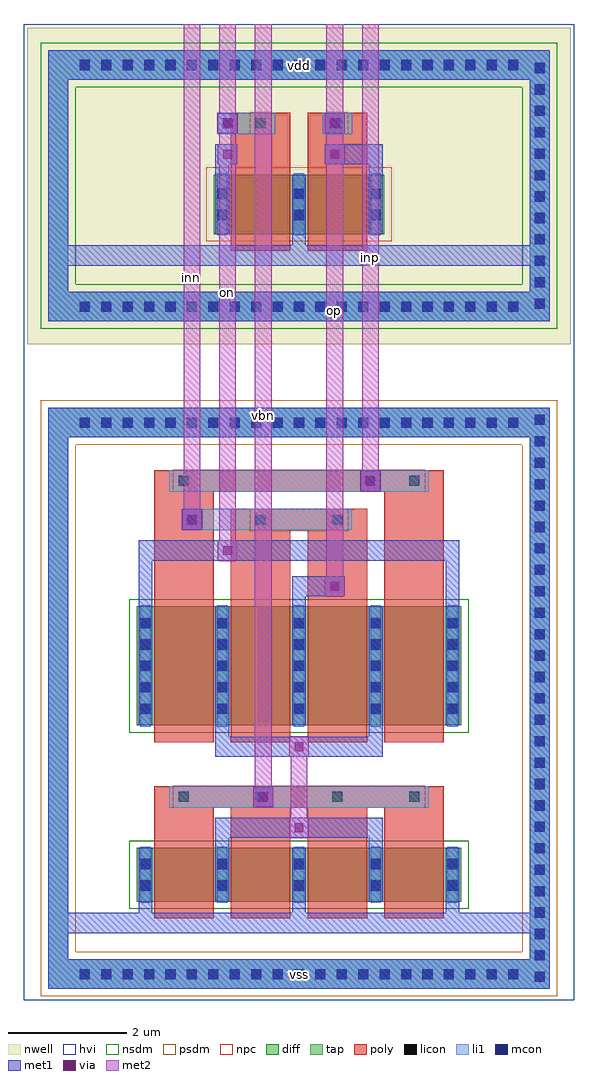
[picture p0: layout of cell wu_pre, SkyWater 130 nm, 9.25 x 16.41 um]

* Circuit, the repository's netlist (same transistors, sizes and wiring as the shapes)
.subckt wu_pre inp inn op on vbn vdd vss
MMt tl vbn vss vss nfet_g5v0d10v5 w=3.6u l=1u
MM1 on inp tl vss nfet_g5v0d10v5 w=4u l=1u
MM2 op inn tl vss nfet_g5v0d10v5 w=4u l=1u
ML1 on on vdd vdd pfet_g5v0d10v5 w=1u l=1u
ML2 op op vdd vdd pfet_g5v0d10v5 w=1u l=1u
.ends wu_pre

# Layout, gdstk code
import gdstk
lib = gdstk.Library(unit=1e-6, precision=1e-09)
def R(c, l, rs):  # rectangles x0, y0, x1, y1
    for r in rs: c.add(gdstk.rectangle(r[:2], r[2:], *l))
def A(c, l, x, y, w, h, nx, ny, dx, dy):  # array of equal rectangles
    R(c, l, [(x+i*dx, y+j*dy, x+i*dx+w, y+j*dy+h) for i in range(nx) for j in range(ny)])
nwell = (64, 20)
diff = (65, 20)
tap = (65, 44)
poly = (66, 20)
licon = (66, 44)
li1 = (67, 20)
mcon = (67, 44)
met1 = (68, 20)
via = (68, 44)
met2 = (69, 20)
hvi = (75, 20)
nsdm = (93, 44)
psdm = (94, 20)
npc = (95, 20)

wu_pre = lib.new_cell('wu_pre')
R(wu_pre, nwell, [(-4.565,11.09,4.565,16.41)])
R(wu_pre, diff, [(-2.725,1.72,2.725,2.62), (-2.725,4.68,2.725,6.68), (-1.435,12.94,1.435,13.94)])
R(wu_pre, tap, [(-4.215,0.25,4.215,0.75), (-4.215,0.25,-3.875,10.02), (3.875,0.25,4.215,10.02), (-4.215,9.52,4.215,10.02), (-4.215,11.47,4.215,11.97), (-4.215,11.47,-3.875,16.03), (3.875,11.47,4.215,16.03), (-4.215,15.53,4.215,16.03)])
A(wu_pre, poly, -2.435, 1.435, 1, 1.47, 4, 1, 1.29, 0)
A(wu_pre, poly, -2.435, 2.62, 1, 0.86, 4, 1, 1.29, 0)
A(wu_pre, poly, -2.435, 4.395, 1, 2.57, 4, 1, 1.29, 0)
R(wu_pre, poly, [(-2.435,3.3,2.435,3.66), (-2.435,6.68,-1.435,8.79), (-1.145,6.68,-0.145,8.14), (0.145,6.68,1.145,8.14), (1.435,6.68,2.435,8.79), (-1.145,7.96,1.145,8.32), (-2.435,8.61,2.435,8.97), (-1.145,12.655,-0.145,14.225), (0.145,12.655,1.145,14.225), (-1.145,13.94,-0.145,14.8), (0.145,13.94,1.145,14.8), (-1.145,14.62,-0.145,14.98), (0.145,14.62,1.145,14.98)])
A(wu_pre, licon, 3.96, 0.37, 0.17, 0.17, 1, 27, 0, 0.36)
A(wu_pre, licon, -3.685, 0.415, 0.17, 0.17, 21, 2, 0.36, 9.27)
A(wu_pre, licon, -2.665, 1.905, 0.17, 0.17, 5, 2, 1.29, 0.36)
A(wu_pre, licon, -2.02, 3.395, 0.17, 0.17, 4, 1, 1.29, 0)
A(wu_pre, licon, -2.665, 4.875, 0.17, 0.17, 5, 5, 1.29, 0.36)
A(wu_pre, licon, -3.685, 11.635, 0.17, 0.17, 21, 2, 0.36, 4.06)
A(wu_pre, licon, 3.96, 11.685, 0.17, 0.17, 1, 12, 0, 0.36)
A(wu_pre, licon, -1.375, 13.175, 0.17, 0.17, 3, 2, 1.29, 0.36)
R(wu_pre, licon, [(-0.73,8.055,-0.56,8.225), (0.56,8.055,0.73,8.225), (-2.02,8.705,-1.85,8.875), (1.85,8.705,2.02,8.875), (-0.73,14.715,-0.56,14.885), (0.56,14.715,0.73,14.885)])
A(wu_pre, li1, -2.665, 1.7, 0.17, 0.94, 5, 1, 1.29, 0)
A(wu_pre, li1, -2.665, 4.66, 0.17, 2.04, 5, 1, 1.29, 0)
A(wu_pre, li1, -1.375, 12.92, 0.17, 1.04, 3, 1, 1.29, 0)
R(wu_pre, li1, [(-4.215,0.25,4.215,0.75), (-4.215,0.25,-3.875,10.02), (3.875,0.25,4.215,10.02), (-2.185,3.3,2.185,3.66), (-1.97,7.96,0.895,8.32), (-2.185,8.61,2.185,8.97), (-4.215,9.52,4.215,10.02), (-4.215,11.47,4.215,11.97), (-4.215,11.47,-3.875,16.03), (3.875,11.47,4.215,16.03), (-1.37,14.62,-0.395,14.98), (0.395,14.62,0.895,14.98), (-4.215,15.53,4.215,16.03)])
A(wu_pre, mcon, 3.96, 0.37, 0.17, 0.17, 1, 27, 0, 0.36)
A(wu_pre, mcon, -3.685, 0.415, 0.17, 0.17, 21, 2, 0.36, 9.27)
A(wu_pre, mcon, -2.665, 1.905, 0.17, 0.17, 5, 2, 1.29, 0.36)
A(wu_pre, mcon, -2.665, 4.875, 0.17, 0.17, 5, 5, 1.29, 0.36)
A(wu_pre, mcon, -3.685, 11.635, 0.17, 0.17, 21, 2, 0.36, 4.06)
A(wu_pre, mcon, 3.96, 11.685, 0.17, 0.17, 1, 12, 0, 0.36)
A(wu_pre, mcon, -1.375, 13.175, 0.17, 0.17, 3, 2, 1.29, 0.36)
R(wu_pre, mcon, [(-0.685,3.395,-0.515,3.565), (-1.885,8.055,-1.715,8.225), (1.115,8.705,1.285,8.875), (-1.285,14.715,-1.115,14.885), (0.515,14.715,0.685,14.885)])
A(wu_pre, met1, -2.695, 1.19, 0.23, 0.53, 3, 1, 2.58, 0)
A(wu_pre, met1, -2.695, 1.72, 0.23, 0.9, 5, 1, 1.29, 0)
A(wu_pre, met1, -2.695, 4.68, 0.23, 2, 5, 1, 1.29, 0)
A(wu_pre, met1, -1.405, 12.94, 0.23, 1, 3, 1, 1.29, 0)
R(wu_pre, met1, [(-4.215,0.25,4.215,0.75), (-4.215,0.25,-3.875,10.02), (3.875,0.25,4.215,10.02), (-4.045,1.19,4.045,1.53), (-1.405,2.62,-1.175,3.13), (1.175,2.62,1.405,3.13), (-1.405,2.79,1.405,3.13), (-0.165,2.795,0.165,3.125), (-0.77,3.31,-0.43,3.65), (-1.405,4.15,-1.175,4.68), (-1.405,4.15,1.405,4.49), (1.175,4.15,1.405,4.68), (-0.165,4.155,0.165,4.485), (-2.695,6.68,-2.465,7.79), (-0.115,6.68,0.115,7.19), (2.465,6.68,2.695,7.79), (-0.115,6.85,0.765,7.19), (0.435,6.855,0.765,7.185), (-2.695,7.45,2.695,7.79), (-1.365,7.455,-1.035,7.785), (-1.97,7.97,-1.63,8.31), (1.03,8.62,1.37,8.96), (-4.215,9.52,4.215,10.02), (-4.215,11.47,4.215,11.97), (-4.215,11.47,-3.875,16.03), (3.875,11.47,4.215,16.03), (-4.045,12.41,4.045,12.75), (-0.115,12.41,0.115,12.94), (-1.405,13.94,-1.175,14.45), (1.175,13.94,1.405,14.45), (-1.405,14.11,-1.035,14.45), (0.435,14.11,1.405,14.45), (-1.365,14.115,-1.035,14.445), (0.435,14.115,0.765,14.445), (-1.37,14.63,-1.03,14.97), (0.43,14.63,0.77,14.97), (-4.215,15.53,4.215,16.03)])
R(wu_pre, via, [(-0.075,2.885,0.075,3.035), (-0.675,3.405,-0.525,3.555), (-0.075,4.245,0.075,4.395), (0.525,6.945,0.675,7.095), (-1.275,7.545,-1.125,7.695), (-1.875,8.065,-1.725,8.215), (1.125,8.715,1.275,8.865), (-1.275,14.205,-1.125,14.355), (0.525,14.205,0.675,14.355), (-1.275,14.725,-1.125,14.875), (0.525,14.725,0.675,14.875)])
R(wu_pre, met2, [(-0.14,2.78,0.14,4.5), (-0.165,2.795,0.165,3.125), (-0.74,3.3,-0.46,16.47), (-0.765,3.315,-0.435,3.645), (-0.165,4.155,0.165,4.485), (0.46,6.84,0.74,16.47), (0.435,6.855,0.765,7.185), (-1.34,7.44,-1.06,16.47), (-1.365,7.455,-1.035,7.785), (-1.94,7.96,-1.66,16.47), (-1.965,7.975,-1.635,8.305), (1.06,8.61,1.34,16.47), (1.035,8.625,1.365,8.955), (-1.365,14.115,-1.035,14.445), (0.435,14.115,0.765,14.445), (-1.365,14.635,-1.035,14.965), (0.435,14.635,0.765,14.965)])
R(wu_pre, hvi, [(-4.625,0.065,4.625,16.47)])
R(wu_pre, nsdm, [(-2.85,1.595,2.85,2.745), (-2.85,4.555,2.85,6.805), (-4.34,11.345,4.34,12.095), (-4.34,11.345,-3.75,16.155), (3.75,11.345,4.34,16.155), (-4.34,15.405,4.34,16.155)])
R(wu_pre, psdm, [(-4.34,0.125,4.34,0.875), (-4.34,0.125,-3.75,10.145), (3.75,0.125,4.34,10.145), (-4.34,9.395,4.34,10.145), (-1.56,12.815,1.56,14.065)])
R(wu_pre, npc, [(-2.12,3.295,2.12,3.665), (-0.83,7.955,0.83,8.325), (-2.12,8.605,2.12,8.975), (-0.83,14.615,-0.46,14.985), (0.46,14.615,0.83,14.985)])
wu_pre.add(gdstk.Label('vdd', (0,15.78), layer=68, texttype=5))
wu_pre.add(gdstk.Label('vss', (0,0.5), layer=68, texttype=5))
wu_pre.add(gdstk.Label('inp', (1.2,12.54), layer=69, texttype=5))
wu_pre.add(gdstk.Label('inn', (-1.8,12.215), layer=69, texttype=5))
wu_pre.add(gdstk.Label('op', (0.6,11.655), layer=69, texttype=5))
wu_pre.add(gdstk.Label('on', (-1.2,11.955), layer=69, texttype=5))
wu_pre.add(gdstk.Label('vbn', (-0.6,9.885), layer=69, texttype=5))

lib.write_gds('wu_pre.gds')
